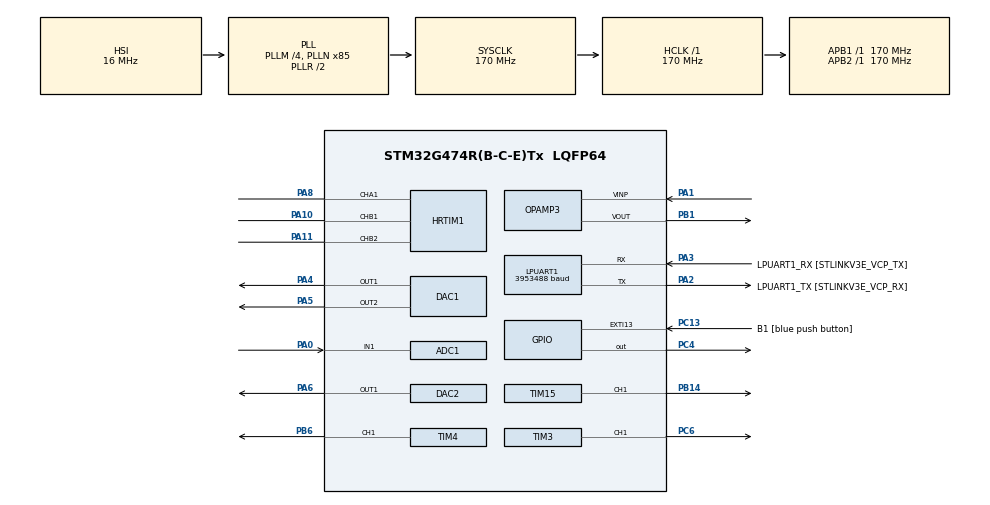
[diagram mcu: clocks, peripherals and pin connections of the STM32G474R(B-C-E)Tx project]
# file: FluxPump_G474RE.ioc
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ADC1.Channel-6\#ChannelRegularConversion=ADC_CHANNEL_1
ADC1.ContinuousConvMode=DISABLE
ADC1.DMAContinuousRequests=ENABLE
ADC1.ExternalTrigConv=ADC_EXTERNALTRIG_T15_TRGO
ADC1.ExternalTrigConvEdge=ADC_EXTERNALTRIGCONVEDGE_RISING
ADC1.NbrOfConversion=1
ADC1.NbrOfConversionFlag=1
ADC1.OffsetNumber-6\#ChannelRegularConversion=ADC_OFFSET_NONE
ADC1.OversamplingMode=ENABLE
ADC1.Rank-6\#ChannelRegularConversion=1
ADC1.Ratio=ADC_OVERSAMPLING_RATIO_64
ADC1.RightBitShift=ADC_RIGHTBITSHIFT_3
ADC1.SamplingTime-6\#ChannelRegularConversion=ADC_SAMPLETIME_2CYCLES_5
ADC1.master=1
DAC1.DAC_Channel-DAC_OUT2=DAC_CHANNEL_2
DAC1.DAC_HighFrequency_OUT1-DAC_OUT1=DAC_HIGH_FREQUENCY_INTERFACE_MODE_AUTOMATIC
DAC1.DAC_SignedFormat-DAC_OUT1=ENABLE
DAC1.DAC_SignedFormat-DAC_OUT2=ENABLE
DAC1.DAC_Trigger2_OUT1-DAC_OUT1=DAC_TRIGGER_NONE
DAC1.DAC_Trigger2_OUT2-DAC_OUT2=DAC_TRIGGER_NONE
DAC1.DAC_Trigger_OUT1-DAC_OUT1=DAC_TRIGGER_T3_TRGO
DAC1.DAC_Trigger_OUT2-DAC_OUT2=DAC_TRIGGER_T4_TRGO
DAC2.DAC_SignedFormat-DAC_OUT1=ENABLE
DAC2.DAC_Trigger2_OUT1-DAC_OUT1=DAC_TRIGGER_NONE
DAC2.DAC_Trigger_OUT1-DAC_OUT1=DAC_TRIGGER_T15_TRGO
Dma.ADC1.5.Direction=DMA_PERIPH_TO_MEMORY
Dma.ADC1.5.EventEnable=DISABLE
Dma.ADC1.5.Instance=DMA1_Channel6
Dma.ADC1.5.MemDataAlignment=DMA_MDATAALIGN_HALFWORD
Dma.ADC1.5.MemInc=DMA_MINC_ENABLE
Dma.ADC1.5.Mode=DMA_CIRCULAR
Dma.ADC1.5.PeriphDataAlignment=DMA_PDATAALIGN_HALFWORD
Dma.ADC1.5.PeriphInc=DMA_PINC_DISABLE
Dma.ADC1.5.Polarity=HAL_DMAMUX_REQ_GEN_RISING
Dma.ADC1.5.Priority=DMA_PRIORITY_LOW
Dma.ADC1.5.RequestNumber=1
Dma.ADC1.5.SignalID=NONE
Dma.ADC1.5.SyncEnable=DISABLE
Dma.ADC1.5.SyncPolarity=HAL_DMAMUX_SYNC_NO_EVENT
Dma.ADC1.5.SyncRequestNumber=1
Dma.ADC1.5.SyncSignalID=NONE
Dma.DAC1_CH1.0.Direction=DMA_MEMORY_TO_PERIPH
Dma.DAC1_CH1.0.EventEnable=DISABLE
Dma.DAC1_CH1.0.Instance=DMA1_Channel1
Dma.DAC1_CH1.0.MemDataAlignment=DMA_MDATAALIGN_HALFWORD
Dma.DAC1_CH1.0.MemInc=DMA_MINC_ENABLE
Dma.DAC1_CH1.0.Mode=DMA_CIRCULAR
Dma.DAC1_CH1.0.PeriphDataAlignment=DMA_PDATAALIGN_WORD
Dma.DAC1_CH1.0.PeriphInc=DMA_PINC_DISABLE
Dma.DAC1_CH1.0.Polarity=HAL_DMAMUX_REQ_GEN_RISING
Dma.DAC1_CH1.0.Priority=DMA_PRIORITY_HIGH
Dma.DAC1_CH1.0.RequestNumber=1
Dma.DAC1_CH1.0.SignalID=NONE
Dma.DAC1_CH1.0.SyncEnable=DISABLE
Dma.DAC1_CH1.0.SyncPolarity=HAL_DMAMUX_SYNC_NO_EVENT
Dma.DAC1_CH1.0.SyncRequestNumber=1
Dma.DAC1_CH1.0.SyncSignalID=NONE
Dma.DAC1_CH2.1.Direction=DMA_MEMORY_TO_PERIPH
Dma.DAC1_CH2.1.EventEnable=DISABLE
Dma.DAC1_CH2.1.Instance=DMA1_Channel2
Dma.DAC1_CH2.1.MemDataAlignment=DMA_MDATAALIGN_HALFWORD
Dma.DAC1_CH2.1.MemInc=DMA_MINC_ENABLE
Dma.DAC1_CH2.1.Mode=DMA_CIRCULAR
Dma.DAC1_CH2.1.PeriphDataAlignment=DMA_PDATAALIGN_WORD
Dma.DAC1_CH2.1.PeriphInc=DMA_PINC_DISABLE
Dma.DAC1_CH2.1.Polarity=HAL_DMAMUX_REQ_GEN_RISING
Dma.DAC1_CH2.1.Priority=DMA_PRIORITY_HIGH
Dma.DAC1_CH2.1.RequestNumber=1
Dma.DAC1_CH2.1.SignalID=NONE
Dma.DAC1_CH2.1.SyncEnable=DISABLE
Dma.DAC1_CH2.1.SyncPolarity=HAL_DMAMUX_SYNC_NO_EVENT
Dma.DAC1_CH2.1.SyncRequestNumber=1
Dma.DAC1_CH2.1.SyncSignalID=NONE
Dma.DAC2_CH1.2.Direction=DMA_MEMORY_TO_PERIPH
Dma.DAC2_CH1.2.EventEnable=DISABLE
Dma.DAC2_CH1.2.Instance=DMA1_Channel3
Dma.DAC2_CH1.2.MemDataAlignment=DMA_MDATAALIGN_HALFWORD
Dma.DAC2_CH1.2.MemInc=DMA_MINC_ENABLE
Dma.DAC2_CH1.2.Mode=DMA_CIRCULAR
Dma.DAC2_CH1.2.PeriphDataAlignment=DMA_PDATAALIGN_WORD
Dma.DAC2_CH1.2.PeriphInc=DMA_PINC_DISABLE
Dma.DAC2_CH1.2.Polarity=HAL_DMAMUX_REQ_GEN_RISING
Dma.DAC2_CH1.2.Priority=DMA_PRIORITY_HIGH
Dma.DAC2_CH1.2.RequestNumber=1
Dma.DAC2_CH1.2.SignalID=NONE
Dma.DAC2_CH1.2.SyncEnable=DISABLE
Dma.DAC2_CH1.2.SyncPolarity=HAL_DMAMUX_SYNC_NO_EVENT
Dma.DAC2_CH1.2.SyncRequestNumber=1
Dma.DAC2_CH1.2.SyncSignalID=NONE
Dma.LPUART1_RX.3.Direction=DMA_PERIPH_TO_MEMORY
Dma.LPUART1_RX.3.EventEnable=DISABLE
Dma.LPUART1_RX.3.Instance=DMA1_Channel4
Dma.LPUART1_RX.3.MemDataAlignment=DMA_MDATAALIGN_BYTE
Dma.LPUART1_RX.3.MemInc=DMA_MINC_ENABLE
Dma.LPUART1_RX.3.Mode=DMA_CIRCULAR
Dma.LPUART1_RX.3.PeriphDataAlignment=DMA_PDATAALIGN_BYTE
Dma.LPUART1_RX.3.PeriphInc=DMA_PINC_DISABLE
Dma.LPUART1_RX.3.Polarity=HAL_DMAMUX_REQ_GEN_RISING
Dma.LPUART1_RX.3.Priority=DMA_PRIORITY_MEDIUM
Dma.LPUART1_RX.3.RequestNumber=1
Dma.LPUART1_RX.3.SignalID=NONE
Dma.LPUART1_RX.3.SyncEnable=DISABLE
Dma.LPUART1_RX.3.SyncPolarity=HAL_DMAMUX_SYNC_NO_EVENT
Dma.LPUART1_RX.3.SyncRequestNumber=1
Dma.LPUART1_RX.3.SyncSignalID=NONE
Dma.LPUART1_TX.4.Direction=DMA_MEMORY_TO_PERIPH
Dma.LPUART1_TX.4.EventEnable=DISABLE
Dma.LPUART1_TX.4.Instance=DMA1_Channel5
Dma.LPUART1_TX.4.MemDataAlignment=DMA_MDATAALIGN_BYTE
Dma.LPUART1_TX.4.MemInc=DMA_MINC_ENABLE
Dma.LPUART1_TX.4.Mode=DMA_NORMAL
Dma.LPUART1_TX.4.PeriphDataAlignment=DMA_PDATAALIGN_BYTE
Dma.LPUART1_TX.4.PeriphInc=DMA_PINC_DISABLE
Dma.LPUART1_TX.4.Polarity=HAL_DMAMUX_REQ_GEN_RISING
Dma.LPUART1_TX.4.Priority=DMA_PRIORITY_LOW
Dma.LPUART1_TX.4.RequestNumber=1
Dma.LPUART1_TX.4.SignalID=NONE
Dma.LPUART1_TX.4.SyncEnable=DISABLE
Dma.LPUART1_TX.4.SyncPolarity=HAL_DMAMUX_SYNC_NO_EVENT
Dma.LPUART1_TX.4.SyncRequestNumber=1
Dma.LPUART1_TX.4.SyncSignalID=NONE
Dma.Request0=DAC1_CH1
Dma.Request1=DAC1_CH2
Dma.Request2=DAC2_CH1
Dma.Request3=LPUART1_RX
Dma.Request4=LPUART1_TX
Dma.Request5=ADC1
HRTIM1.ADCTrigger1_Source1=HRTIM_ADCTRIGGEREVENT13_MASTER_PERIOD
HRTIM1.ADCTrigger_Id1=HRTIM_ADCTRIGGER_1
HRTIM1.CompareUnit1-Output_TA1=HRTIM_COMPAREUNIT_1
HRTIM1.CompareUnit1-Output_TB1TB2=HRTIM_COMPAREUNIT_1
HRTIM1.CompareValue1-Output_TA1=0x0000
HRTIM1.CompareValue1-Output_TB1TB2=0x0000
HRTIM1.DeadTimeInsertion-Output_TB1TB2=HRTIM_TIMDEADTIMEINSERTION_ENABLED
HRTIM1.FallingSign-Output_TB1TB2=HRTIM_TIMDEADTIME_FALLINGSIGN_POSITIVE
HRTIM1.FallingValue-Output_TB1TB2=DEADTIME
HRTIM1.NumberADCTriggerSource1=1
HRTIM1.NumberResetSource1-Output_TA1=1
HRTIM1.NumberResetSource1-Output_TB1TB2=1
HRTIM1.NumberResetTrigger-Output_TA1=1
HRTIM1.NumberResetTrigger-Output_TB1TB2=1
HRTIM1.NumberSetSource1-Output_TA1=1
HRTIM1.NumberSetSource1-Output_TB1TB2=1
HRTIM1.NumberUpdateTrigger-Output_TB1TB2=0
HRTIM1.Periode_MASTER=0xD480
HRTIM1.Periode_TA=0xD480
HRTIM1.Periode_TB=0xD480
HRTIM1.Polarity1-Output_TB1TB2=HRTIM_OUTPUTPOLARITY_HIGH
HRTIM1.Polarity2-Output_TB1TB2=HRTIM_OUTPUTPOLARITY_HIGH
HRTIM1.PreloadEnable-MasterTimer=HRTIM_PRELOAD_ENABLED
HRTIM1.PreloadEnable-Output_TA1=HRTIM_PRELOAD_ENABLED
HRTIM1.PreloadEnable-Output_TB1TB2=HRTIM_PRELOAD_ENABLED
HRTIM1.PrescalerDead-Output_TB1TB2=HRTIM_TIMDEADTIME_PRESCALERRATIO_DIV1
HRTIM1.PrescalerRatio_MASTER=HRTIM_PRESCALERRATIO_MUL32
HRTIM1.PrescalerRatio_TA=HRTIM_PRESCALERRATIO_MUL32
HRTIM1.PrescalerRatio_TB=HRTIM_PRESCALERRATIO_MUL32
HRTIM1.RepetitionCounter-MasterTimer=0x00
HRTIM1.RepetitionCounter-Output_TA1=0x00
HRTIM1.RepetitionCounter-Output_TB1TB2=0x00
HRTIM1.RepetitionUpdate-MasterTimer=HRTIM_UPDATEONREPETITION_ENABLED
HRTIM1.RepetitionUpdate-Output_TA1=HRTIM_UPDATEONREPETITION_ENABLED
HRTIM1.RepetitionUpdate-Output_TB1TB2=HRTIM_UPDATEONREPETITION_ENABLED
HRTIM1.ResetOutput1_Source1-Output_TA1=HRTIM_OUTPUTRESET_TIMCMP1
HRTIM1.ResetOutput1_Source1-Output_TB1TB2=HRTIM_OUTPUTRESET_TIMCMP1
HRTIM1.ResetTrigger1-Output_TA1=HRTIM_TIMRESETTRIGGER_MASTER_PER
HRTIM1.ResetTrigger1-Output_TB1TB2=HRTIM_TIMRESETTRIGGER_MASTER_PER
HRTIM1.RisingSign-Output_TB1TB2=HRTIM_TIMDEADTIME_RISINGSIGN_POSITIVE
HRTIM1.RisingValue-Output_TB1TB2=DEADTIME
HRTIM1.SetOutput1_Source1-Output_TA1=HRTIM_OUTPUTSET_TIMPER
HRTIM1.SetOutput1_Source1-Output_TB1TB2=HRTIM_OUTPUTSET_TIMPER
HRTIM1.SwapB=__NULL
HRTIM1.postscaler1=0x0
LPUART1.BaudRate=3953488
LPUART1.Parity=UART_PARITY_EVEN
LPUART1.WordLength=UART_WORDLENGTH_9B
Mcu.Family=STM32G4
Mcu.Name=STM32G474R(B-C-E)Tx
Mcu.Package=LQFP64
Mcu.UserConstants=PRESCTO1MHz,((HAL_RCC_GetSysClockFreq()/1000000)-1);DEADTIME,0x000;HRTIM_CMP_MIN,0x017C;HRTIM_CMP_MAX,0xFFF7
NVIC.ADC1_2_IRQn=true\:0\:0\:false\:false\:true\:true\:true
NVIC.DMA1_Channel1_IRQn=true\:0\:0\:false\:false\:true\:false\:true
NVIC.DMA1_Channel2_IRQn=true\:0\:0\:false\:false\:true\:false\:true
NVIC.DMA1_Channel3_IRQn=true\:0\:0\:false\:false\:true\:false\:true
NVIC.DMA1_Channel4_IRQn=true\:0\:0\:false\:false\:true\:false\:true
NVIC.DMA1_Channel5_IRQn=true\:0\:0\:false\:false\:true\:false\:true
NVIC.DMA1_Channel6_IRQn=true\:0\:0\:false\:false\:true\:false\:true
NVIC.EXTI15_10_IRQn=true\:0\:0\:false\:false\:true\:true\:true
NVIC.HRTIM1_Master_IRQn=true\:0\:0\:false\:false\:true\:true\:true
NVIC.LPUART1_IRQn=true\:0\:0\:false\:false\:true\:true\:true
NVIC.PriorityGroup=NVIC_PRIORITYGROUP_4
NVIC.TIM1_BRK_TIM15_IRQn=true\:0\:0\:false\:false\:true\:true\:true
NVIC.TIM2_IRQn=true\:0\:0\:false\:false\:true\:true\:true
NVIC.TIM5_IRQn=true\:0\:0\:false\:false\:true\:true\:true
PA0.Mode=IN1-Single-Ended
PA0.Signal=ADC1_IN1
PA1.Mode=Follower
PA1.Signal=OPAMP3_VINP
PA10.Mode=Output_TB1TB2
PA10.Signal=HRTIM1_CHB1
PA11.Mode=Output_TB1TB2
PA11.Signal=HRTIM1_CHB2
PA13.GPIO_Label=T_SWDIO
PA13.Mode=Serial_Wire
PA13.Signal=SYS_JTMS-SWDIO
PA14.GPIO_Label=T_SWCLK
PA14.Mode=Serial_Wire
PA14.Signal=SYS_JTCK-SWCLK
PA2.GPIO_Label=LPUART1_TX [STLINKV3E_VCP_RX]
PA2.Mode=Asynchronous
PA2.Signal=LPUART1_TX
PA3.GPIO_Label=LPUART1_RX [STLINKV3E_VCP_TX]
PA3.Mode=Asynchronous
PA3.Signal=LPUART1_RX
PA4.Signal=COMP_DAC11_group
PA5.Signal=COMP_DAC12_group
PA6.Signal=COMP_DAC21_group
PA8.Mode=Output_TA1
PA8.Signal=HRTIM1_CHA1
PB1.Mode=Follower
PB1.Signal=OPAMP3_VOUT
PB14.Signal=S_TIM15_CH1
PB3.GPIO_Label=T_SWO
PB3.Signal=SYS_JTDO-SWO
PB6.Signal=S_TIM4_CH1
PC13.GPIO_Label=B1 [blue push button]
PC13.Signal=GPXTI13
PC14-OSC32_IN.Mode=LSE-External-Oscillator
PC14-OSC32_IN.Signal=RCC_OSC32_IN
PC15-OSC32_OUT.Mode=LSE-External-Oscillator
PC15-OSC32_OUT.Signal=RCC_OSC32_OUT
PC4.Signal=GPIO_Output
PC6.Signal=S_TIM3_CH1
PF0-OSC_IN.Mode=HSE-External-Oscillator
PF0-OSC_IN.Signal=RCC_OSC_IN
PF1-OSC_OUT.Mode=HSE-External-Oscillator
PF1-OSC_OUT.Signal=RCC_OSC_OUT
ProjectManager.HeapSize=0x200
ProjectManager.StackSize=0x400
ProjectManager.TargetToolchain=Makefile
RCC.ADC12Freq_Value=170000000
RCC.ADC345Freq_Value=170000000
RCC.AHBFreq_Value=170000000
RCC.APB1Freq_Value=170000000
RCC.APB1TimFreq_Value=170000000
RCC.APB2Freq_Value=170000000
RCC.APB2TimFreq_Value=170000000
RCC.CortexFreq_Value=170000000
RCC.EXTERNAL_CLOCK_VALUE=12288000
RCC.HCLKFreq_Value=170000000
RCC.HSE_VALUE=24000000
RCC.HSI48_VALUE=48000000
RCC.HSI_VALUE=16000000
RCC.PLLM=RCC_PLLM_DIV4
RCC.PLLN=85
RCC.RTCClockSelection=RCC_RTCCLKSOURCE_LSE
RCC.SYSCLKFreq_VALUE=170000000
RCC.SYSCLKSource=RCC_SYSCLKSOURCE_PLLCLK
RCC.USBFreq_Value=170000000
RCC.VCOOutputFreq_Value=340000000
SH.COMP_DAC11_group.0=DAC1_OUT1,DAC_OUT1
SH.COMP_DAC12_group.0=DAC1_OUT2,DAC_OUT2
SH.COMP_DAC21_group.0=DAC2_OUT1,DAC_OUT1
SH.S_TIM15_CH1.0=TIM15_CH1,Output Compare1 CH1
SH.S_TIM3_CH1.0=TIM3_CH1,Output Compare1 CH1
SH.S_TIM4_CH1.0=TIM4_CH1,Output Compare1 CH1
TIM15.AutoReloadPreload=TIM_AUTORELOAD_PRELOAD_ENABLE
TIM15.Channel-Output\ Compare1\ CH1=TIM_CHANNEL_1
TIM15.OCMode_1=TIM_OCMODE_TOGGLE
TIM15.PeriodNoDither=0
TIM15.Prescaler=PRESCTO1MHz
TIM15.PulseNoDither_1=0
TIM15.TIM_MasterOutputTrigger=TIM_TRGO_OC1
TIM15.TIM_MasterSlaveMode=TIM_MASTERSLAVEMODE_DISABLE
TIM2.AutoReloadPreload=TIM_AUTORELOAD_PRELOAD_ENABLE
TIM2.Channel-Output\ Compare3\ No\ Output=TIM_CHANNEL_3
TIM2.Channel-PWM\ Generation1\ No\ Output=TIM_CHANNEL_1
TIM2.Channel-PWM\ Generation2\ No\ Output=TIM_CHANNEL_2
TIM2.OC2Preload_PWM=ENABLE
TIM2.OC3Preload=ENABLE
TIM2.OCFastMode_PWM-PWM\ Generation2\ No\ Output=TIM_OCFAST_DISABLE
TIM2.OCMode_3=TIM_OCMODE_TOGGLE
TIM2.PeriodNoDither=0
TIM2.Prescaler=PRESCTO1MHz
TIM2.PulseNoDither_1=0
TIM2.PulseNoDither_2=0
TIM2.TIM_MasterOutputTrigger=TIM_TRGO_OC1REF
TIM2.TIM_MasterSlaveMode=TIM_MASTERSLAVEMODE_ENABLE
TIM3.AutoReloadPreload=TIM_AUTORELOAD_PRELOAD_ENABLE
TIM3.Channel-Output\ Compare1\ CH1=TIM_CHANNEL_1
TIM3.OCMode_1=TIM_OCMODE_TOGGLE
TIM3.PeriodNoDither=PRESCTO1MHz
TIM3.Prescaler=0
TIM3.TIM_MasterOutputTrigger=TIM_TRGO_UPDATE
TIM4.AutoReloadPreload=TIM_AUTORELOAD_PRELOAD_ENABLE
TIM4.Channel-Output\ Compare1\ CH1=TIM_CHANNEL_1
TIM4.OCMode_1=TIM_OCMODE_TOGGLE
TIM4.PeriodNoDither=PRESCTO1MHz
TIM4.Prescaler=0
TIM4.TIM_MasterOutputTrigger=TIM_TRGO_UPDATE
TIM5.AutoReloadPreload=TIM_AUTORELOAD_PRELOAD_ENABLE
TIM5.Channel-PWM\ Generation1\ No\ Output=TIM_CHANNEL_1
TIM5.Channel-PWM\ Generation2\ No\ Output=TIM_CHANNEL_2
TIM5.OCPolarity_1=TIM_OCPOLARITY_HIGH
TIM5.PeriodNoDither=0
TIM5.Prescaler=PRESCTO1MHz
TIM5.PulseNoDither_1=0
TIM5.PulseNoDither_2=0
TIM5.TIM_MasterOutputTrigger=TIM_TRGO_OC1REF
TIM5.TIM_MasterSlaveMode=TIM_MASTERSLAVEMODE_ENABLE
VP_HRTIM1_VS_hrtimMasterTimerNoOutput.Mode=MasterTimer
VP_SYS_VS_DBSignals.Mode=DisableDeadBatterySignals
VP_TIM15_VS_ClockSourceINT.Mode=Internal
VP_TIM2_VS_ClockSourceINT.Mode=Internal
VP_TIM2_VS_ClockSourceITR.Mode=TriggerSource_ITR6
VP_TIM2_VS_ControllerModeTrigger.Mode=Trigger Mode
VP_TIM2_VS_no_output1.Mode=PWM Generation1 No Output
VP_TIM2_VS_no_output2.Mode=PWM Generation2 No Output
VP_TIM2_VS_no_output3.Mode=Output Compare3 No Output
VP_TIM3_VS_ClockSourceINT.Mode=Internal
VP_TIM3_VS_ClockSourceITR.Mode=TriggerSource_ITR1
VP_TIM3_VS_ControllerModeCombinedResetTrigger.Mode=Combined_gated_reset_Mode
VP_TIM4_VS_ClockSourceINT.Mode=Internal
VP_TIM4_VS_ClockSourceITR.Mode=TriggerSource_ITR4
VP_TIM4_VS_ControllerModeCombinedResetTrigger.Mode=Combined_gated_reset_Mode
VP_TIM5_VS_ClockSourceINT.Mode=Internal
VP_TIM5_VS_ClockSourceITR.Mode=TriggerSource_ITR6
VP_TIM5_VS_ControllerModeTrigger.Mode=Trigger Mode
VP_TIM5_VS_no_output1.Mode=PWM Generation1 No Output
VP_TIM5_VS_no_output2.Mode=PWM Generation2 No Output
board=NUCLEO-G474RE

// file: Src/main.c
/* USER CODE BEGIN Header */
/**
  ******************************************************************************
  * @file           : main.c
  * @brief          : Main program body
  * This software was developed by Peter Scott (PHScott99@outlook.com) for their
  * fourth year project at Cambridge University Engineering Department:
  *     B-TAC1000-2 - An Embedded System for Flux Pump Control
  ******************************************************************************
  */
/* USER CODE END Header */
#include "main.h"
#include "adc.h"
#include "dac.h"
#include "dma.h"
#include "hrtim.h"
#include "hrtim.h"
#include "usart.h"
#include "opamp.h"
#include "tim.h"
#include "gpio.h"

/* USER CODE BEGIN Includes */
/* Custom Libraries for Flux Pump*/
#include "signal.h"
#include "sensor.h"
#include "callback.h"
#include "command.h"
#include "pid.h"

/* 3rd Party and Standard Libraries */
#include "arm_math.h"
#include "retarget.h"
#include <stdio.h>
#include <string.h>
#include <stdlib.h>
/* USER CODE END Includes */

void SystemClock_Config(void);
/* USER CODE BEGIN PFP */
void callback_function(TIM_HandleTypeDef *htim); // Temporary function for prototyping PID control
/* USER CODE END PFP */

/* USER CODE BEGIN 0 */
// HAL_GPIO_TogglePin(GPIOC, GPIO_PIN_4); // Use this for debugging!
/* USER CODE END 0 */

int main(void)
{

  /* MCU Configuration--------------------------------------------------------*/

  /* Reset of all peripherals, Initializes the Flash interface and the Systick. */
  HAL_Init();

  /* Configure the system clock */
  SystemClock_Config();

  /* Initialize all configured peripherals */
  MX_TIM2_Init();
  MX_TIM3_Init();
  MX_TIM4_Init();
  MX_TIM5_Init();
  MX_TIM15_Init();
  MX_DMA_Init();
  MX_DAC1_Init();
  MX_DAC2_Init();
  MX_ADC1_Init();
  MX_GPIO_Init();
  MX_LPUART1_UART_Init();
  MX_HRTIM1_Init();
  MX_OPAMP3_Init();
  /* USER CODE BEGIN 2 */
  Retarget_Init(&hlpuart1); // Printf retargeting for LPUART1
  PID_Init(KP_DEFAULT, KI_DEFAULT, KD_DEFAULT); // Initialises the PID instance with default gains
  resetTimers(); // Disables all the timers until we're ready for them

  /* Set all DAC outputs to half of fullscale */
  forceDACOutput(&hdac1, DAC_CHANNEL_1, 0);
  forceDACOutput(&hdac1, DAC_CHANNEL_2, 0);
  forceDACOutput(&hdac2, DAC_CHANNEL_1, 0);

  configureUART(); // Configure character match interrupts to recognise incoming commands
  printf("\r\n START \r\n"); // Sanity check

  /* Initialise Signals */
  initSignal(FluxPump_Transformer, &transformer, transHalfDMACallback, transFullDMACallback);
  initSignal(FluxPump_Switch, &switch1, NULL, s1BurstCpltCallback);
  initSignal(FluxPump_Switch, &switch2, NULL, s2BurstCpltCallback);

  /* Initialise Sensors */
  initSensor(&hallCurrent, currentHalfDMACallback, currentFullDMACallback);

  /* Configure Signals */
  configSignal(FluxPump_Transformer, &transformer, &switch1, &switch2);
  configSignal(FluxPump_Switch, &transformer, &switch1, NULL);
  configSignal(FluxPump_Switch, &transformer, &switch2, NULL);

  /* Configure Sensors */
  configSensor(&hallCurrent, &transformer);

  /* Calculate Waveform LUTs */
  calcSignal(&transformer, LUT_All);
  calcSignal(&switch1, LUT_All);
  calcSignal(&switch2, LUT_All);

  /* Configure PID prototyping function to be called for every sample of the transformer LUT */
  HAL_TIM_RegisterCallback(transformer.trigTIM_Handle, HAL_TIM_OC_DELAY_ELAPSED_CB_ID, callback_function);

  updateTimers(); // Send update command to load preloaded values into registers
  startTimers();  // Start all timers required for flux pump signals

  /* Calibrate Sensors */
  calibSensor(&hallCurrent);

  /* Start all Flux Pump Signals */
  startWaveform(&transformer);
  startWaveform(&switch1);
  startWaveform(&switch2);

  /* Initialise HRTIM for PWM control of H-Bridge - this should be packaged up into a function at some point */
  HAL_HRTIM_SimpleBaseStart(&hhrtim1, HRTIM_TIMERINDEX_TIMER_A);
  HAL_HRTIM_SimpleBaseStart(&hhrtim1, HRTIM_TIMERINDEX_TIMER_B);
  HAL_HRTIM_SimpleBaseStart_IT(&hhrtim1, HRTIM_TIMERINDEX_MASTER);
  HAL_HRTIM_WaveformOutputStart(&hhrtim1, HRTIM_OUTPUT_TA1 | HRTIM_OUTPUT_TB1 | HRTIM_OUTPUT_TB2);

  /* USER CODE END 2 */

  /* Infinite loop */
  /* USER CODE BEGIN WHILE */
  while (1)
  {
    if(transHalfDMA_Flag)
    { // DMA has passed the midpoint of the Transformer LUT
      transHalfDMA_Flag = 0; // Clear Flag
      if(transformer.updateRequest == Update_FirstHalfLUT) calcSignal(&transformer, LUT_FirstHalf); // Recalculate first half of transformer LUT if requested
      if(transformer.state == Waveform_Request_Off) stopWaveform(&transformer); // Stop the transformer waveform if requested
    }
    if(transFullDMA_Flag)
    { // DMA has passed the end of the Transformer LUT and has wrapped around to the start
      transFullDMA_Flag = 0; // Clear flag
      if(transformer.updateRequest == Update_SecondHalfLUT) calcSignal(&transformer, LUT_SecondHalf); // Recalculate second half of transformer LUT if requested
      if(transformer.state == Waveform_Request_Off) stopWaveform(&transformer); // Stop the transformer waveform if requested
    }
    if(switch1Cplt_Flag)
    { // DMA has finished switch 1 burst
      switch1Cplt_Flag = 0; // Clear Flag
      if(switch1.updateRequest == Update_Clocks)
      { // Reconfigure Switch 1 clocks if requested
        stopWaveform(&switch1); // Dangerous to mess with clocks while signal is running
        configSignal(FluxPump_Switch, &transformer, &switch1, NULL);
        startWaveform(&switch1);
      }
      if(switch1.updateRequest == Update_FirstHalfLUT) calcSignal(&switch1, LUT_All); // Recalculate Switch 1 LUT if requested
      if(switch1.state == Waveform_Request_On)  startWaveform(&switch1); // Start switch 1 waveform if requested
      if(switch1.state == Waveform_Request_Off) stopWaveform(&switch1); // Stop switch 1 waveform if requested
    }
    if(switch2Cplt_Flag)
    { // DMA has finished switch 2 burst
      switch2Cplt_Flag = 0; // Clear Flag
      if(switch2.updateRequest == Update_Clocks)
      { // Reconfigure Switch 2 clocks if requested
        stopWaveform(&switch2); // Dangerous to mess with clocks while signal is running
        configSignal(FluxPump_Switch, &transformer, &switch2, NULL);
        startWaveform(&switch2);
      }
      if(switch2.updateRequest == 2) calcSignal(&switch2, LUT_All); // Recalculate Switch 2 LUT if requested
      if(switch2.state == Waveform_Request_On)  startWaveform(&switch2); // Start switch 2 waveform if requested
      if(switch2.state == Waveform_Request_Off) stopWaveform(&switch2); // Stop switch 2 waveform if requested
    }
    if(currentHalfDMA_Flag)
    {
      currentHalfDMA_Flag = 0; // Clear flag
      /* Calculate some statistics of the measurement over first half of cycle */
      arm_offset_q15(hallCurrent.BUFLocation, -hallCurrent.calib.offset, hallCurrent.BUFLocation, hallCurrent.BUFSize/2); // Remove DC offset
      arm_min_q15(hallCurrent.BUFLocation, hallCurrent.BUFSize/2, &hallCurrent.calcs.min1, NULL); // Find minimum value
      arm_max_q15(hallCurrent.BUFLocation, hallCurrent.BUFSize/2, &hallCurrent.calcs.max1, NULL); // Find maximum value
      arm_rms_q15(hallCurrent.BUFLocation, hallCurrent.BUFSize/2, &hallCurrent.calcs.rms1); // Calculate RMS
      if(hallCurrent.readFlag == 1)
      { // If there is a request to read the measurement data, send the first half via DMA
        hallCurrent.readFlag = 2; // Set flag so second half is also transmitted when done
        HAL_UART_Transmit_DMA(&hlpuart1, (void *)hallCurrent.BUFLocation, sizeof(hallCurrent.BUFLocation[1])*hallCurrent.BUFSize/2);
      }
    }
    if(currentFullDMA_Flag)
    {
      currentFullDMA_Flag = 0; // Clear flag
      /* Calculate some statistics of the measurement over first half of cycle */
      arm_offset_q15(&hallCurrent.BUFLocation[hallCurrent.BUFSize/2], -hallCurrent.calib.offset, &hallCurrent.BUFLocation[hallCurrent.BUFSize/2], hallCurrent.BUFSize/2); // Remove DC offset
      arm_min_q15(&hallCurrent.BUFLocation[hallCurrent.BUFSize/2], hallCurrent.BUFSize/2, &hallCurrent.calcs.min2, NULL); // Find minimum value
      arm_max_q15(&hallCurrent.BUFLocation[hallCurrent.BUFSize/2], hallCurrent.BUFSize/2, &hallCurrent.calcs.max2, NULL); // Find maximum value
      arm_rms_q15(&hallCurrent.BUFLocation[hallCurrent.BUFSize/2], hallCurrent.BUFSize/2, &hallCurrent.calcs.rms2); // Calculate RMS
      /* Combine stats for first and second half and save to sensor structure */
      hallCurrent.stats.peak = (fmax(hallCurrent.calcs.max1, hallCurrent.calcs.max2) - fmin(hallCurrent.calcs.min1, hallCurrent.calcs.min2)) / 2 * hallCurrent.conversion; // Peak amplitude is range/2
      hallCurrent.stats.rms = sqrt(((hallCurrent.calcs.rms1*hallCurrent.calcs.rms1) + (hallCurrent.calcs.rms2*hallCurrent.calcs.rms2))/2) * hallCurrent.conversion; // Calculate overall RMS from two halves (sorta like a weighted average)
      if(hallCurrent.readFlag == 2)
      { // If there is a request to read the measurement data and the first half has been sent, send the second half via DMA
        hallCurrent.readFlag = 0; // Reset read request to false
        HAL_UART_Transmit_DMA(&hlpuart1, (void *)&hallCurrent.BUFLocation[hallCurrent.BUFSize/2], sizeof(hallCurrent.BUFLocation[hallCurrent.BUFSize/2])*hallCurrent.BUFSize/2);
      }
    }
    if(commandReceived_Flag)
    { // LPUART1 has recieved new data
      commandReceived_Flag = 0; // Clear Flag
      static size_t old_pos; // Point in circular buffer where the new data starts
      size_t pos;

      static size_t commandStart = 0;
      static size_t commandEnd = 0;

      pos = RX_BUFFER_SIZE - __HAL_DMA_GET_COUNTER(&hdma_lpuart1_rx); // Calculate where the new data ends
      while(old_pos != pos)
      { // This loop will run for every new character in turn, until the end of new data has been reached
        if(((LPUART1_rxBuffer[old_pos] == '#') | (LPUART1_rxBuffer[old_pos] == '?') | (LPUART1_rxBuffer[old_pos] == '\r')) & (old_pos != commandStart))
        { // This code runs if the special command character (#) or a return character is found
          commandStart = commandEnd; // The new command starts immediately after the old command end
          commandEnd = old_pos; // The new command ends at the point determined by old_pos
          if(commandEnd>commandStart)
          { // Then the whole command is in a continuous section of the RX buffer
            uint8_t size = commandEnd - commandStart + 1; // Size of buffer needed to store the command
            char *string = (char*)calloc(size, sizeof(char)); // Allocate SRAM for command buffer
            strncat(string, &LPUART1_rxBuffer[commandStart], commandEnd - commandStart); // Copy command from RX buffer to command buffer
            parseCommand(string, size); // Send this command to be parsed
          }
          else
          { // The command string wraps around to the start of the circular RX buffer
            uint8_t size = RX_BUFFER_SIZE - commandStart + commandEnd + 1; // Size of buffer needed to store the command
            char *string = (char*)calloc(size, sizeof(char)); // Allocate SRAM for command buffer
            strncat(string, &LPUART1_rxBuffer[commandStart], RX_BUFFER_SIZE - commandStart); // Copy first section of command from RX buffer to command buffer
            strncat(string, &LPUART1_rxBuffer[0], commandEnd); // Copy second section of command from RX buffer to command buffer
            parseCommand(string, size); // Send this command to be parsed
          }
        }
        old_pos = (old_pos + 1) % RX_BUFFER_SIZE; // Move to next character in the new data and wrap around to the beginning if necessary
      }
    }
    /* USER CODE END WHILE */

  }
}

void SystemClock_Config(void)
{
  RCC_OscInitTypeDef RCC_OscInitStruct = {0};
  RCC_ClkInitTypeDef RCC_ClkInitStruct = {0};
  RCC_PeriphCLKInitTypeDef PeriphClkInit = {0};

  /** Configure the main internal regulator output voltage
  */
  HAL_PWREx_ControlVoltageScaling(PWR_REGULATOR_VOLTAGE_SCALE1_BOOST);
  /** Initializes the RCC Oscillators according to the specified parameters
  * in the RCC_OscInitTypeDef structure.
  */
  RCC_OscInitStruct.OscillatorType = RCC_OSCILLATORTYPE_HSI;
  RCC_OscInitStruct.HSIState = RCC_HSI_ON;
  RCC_OscInitStruct.HSICalibrationValue = RCC_HSICALIBRATION_DEFAULT;
  RCC_OscInitStruct.PLL.PLLState = RCC_PLL_ON;
  RCC_OscInitStruct.PLL.PLLSource = RCC_PLLSOURCE_HSI;
  RCC_OscInitStruct.PLL.PLLM = RCC_PLLM_DIV4;
  RCC_OscInitStruct.PLL.PLLN = 85;
  RCC_OscInitStruct.PLL.PLLP = RCC_PLLP_DIV2;
  RCC_OscInitStruct.PLL.PLLQ = RCC_PLLQ_DIV2;
  RCC_OscInitStruct.PLL.PLLR = RCC_PLLR_DIV2;
  if (HAL_RCC_OscConfig(&RCC_OscInitStruct) != HAL_OK)
  {
    Error_Handler();
  }
  /** Initializes the CPU, AHB and APB buses clocks
  */
  RCC_ClkInitStruct.ClockType = RCC_CLOCKTYPE_HCLK|RCC_CLOCKTYPE_SYSCLK
                              |RCC_CLOCKTYPE_PCLK1|RCC_CLOCKTYPE_PCLK2;
  RCC_ClkInitStruct.SYSCLKSource = RCC_SYSCLKSOURCE_PLLCLK;
  RCC_ClkInitStruct.AHBCLKDivider = RCC_SYSCLK_DIV1;
  RCC_ClkInitStruct.APB1CLKDivider = RCC_HCLK_DIV1;
  RCC_ClkInitStruct.APB2CLKDivider = RCC_HCLK_DIV1;

  if (HAL_RCC_ClockConfig(&RCC_ClkInitStruct, FLASH_LATENCY_4) != HAL_OK)
  {
    Error_Handler();
  }
  /** Initializes the peripherals clocks
  */
  PeriphClkInit.PeriphClockSelection = RCC_PERIPHCLK_LPUART1|RCC_PERIPHCLK_ADC12;
  PeriphClkInit.Lpuart1ClockSelection = RCC_LPUART1CLKSOURCE_PCLK1;
  PeriphClkInit.Adc12ClockSelection = RCC_ADC12CLKSOURCE_SYSCLK;
  if (HAL_RCCEx_PeriphCLKConfig(&PeriphClkInit) != HAL_OK)
  {
    Error_Handler();
  }
}

/* USER CODE BEGIN 4 */
void callback_function(TIM_HandleTypeDef * htim)
{
  if(transformer.state == Waveform_On) // Only calculate duty cycle if the transformer waveform should be on
  {
    q15_t demand = transformer.LUTLocation[transformer.LUTSize - __HAL_DMA_GET_COUNTER(transformer.DAC_Handle->DMA_Handle1)]; // Determine what the current should be
    q15_t measure = hallCurrent.BUFLocation[hallCurrent.BUFSize - __HAL_DMA_GET_COUNTER((&hadc1)->DMA_Handle)] * 2; // Measure what the most recent current measurement is
    q15_t error =  demand - measure; // The error is the difference

    // volatile q15_t duty = arm_pid_q15(&PID, error); // Havent tried this yet, good luck
    volatile int32_t duty = (demand + 0*error)/DAC_FULLSCALE * hhrtim1.Instance->sMasterRegs.MPER; // Really simple proportional control, but only if you change the 0 to something else

    /* Determine the correct signals for the H-Bridge you are using */
    if (duty > 0) hhrtim1.Instance->sTimerxRegs[HRTIM_TIMERINDEX_TIMER_B].CMP1xR = 0x0000;
    else hhrtim1.Instance->sTimerxRegs[HRTIM_TIMERINDEX_TIMER_B].CMP1xR = HRTIM_CMP_MAX;

    if((duty <= HRTIM_CMP_MIN) & (duty >= -HRTIM_CMP_MIN)) duty = 0; // There is a minimum allowable duty cycle, set to zero if duty is lower than this
    else if (duty >=  (int32_t)(hhrtim1.Instance->sMasterRegs.MPER - HRTIM_CMP_MIN)) duty =  (hhrtim1.Instance->sMasterRegs.MPER - HRTIM_CMP_MIN); // Don't let compare register be larger than period
    else if (duty <= -(int32_t)(hhrtim1.Instance->sMasterRegs.MPER - HRTIM_CMP_MIN)) duty = -(hhrtim1.Instance->sMasterRegs.MPER - HRTIM_CMP_MIN); // Don't let compare register be larger than period

    hhrtim1.Instance->sTimerxRegs[HRTIM_TIMERINDEX_TIMER_A].CMP1xR = abs(duty); // Take the magnitude of the duty cycle for unipolar modulation
  }
}

/* USER CODE END 4 */

void Error_Handler(void)
{
  /* USER CODE BEGIN Error_Handler_Debug */
  /* User can add his own implementation to report the HAL error return state */
  while(1);
  /* USER CODE END Error_Handler_Debug */
}

/************************ (C) COPYRIGHT STMicroelectronics *****END OF FILE****/
